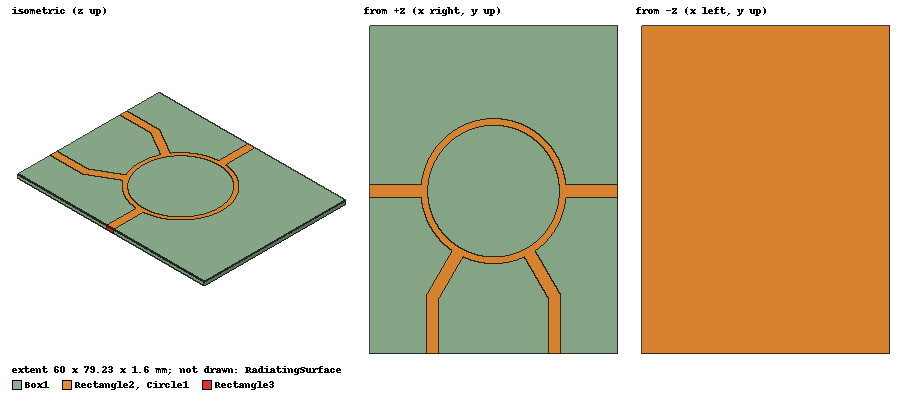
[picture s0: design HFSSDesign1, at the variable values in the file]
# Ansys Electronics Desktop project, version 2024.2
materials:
  vacuum: permittivity=1
  FR4_epoxy: permittivity=4.4 dielectric_loss_tangent=0.02
  air: permittivity=1.0006 permeability=1.0000004

design HFSSDesign1 (HFSS, HFSS Terminal Network, model units mm)
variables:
  r1 = 17.52mm
  r2 = 15.9mm
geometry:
  Circle1 = circle(normal=Z, centre=(0mm, 0mm, 0mm), radius=17.52mm)
  Circle2 = circle(normal=Z, centre=(0mm, 0mm, 0mm), radius=15.9mm)
  Circle1.subtract(Circle2)
  Rectangle1 = rectangle(corner=(-1.5mm, -30mm, 0mm), x_size=3mm, y_size=14mm)
  Rectangle1_1 = Rectangle1.duplicate_around_axis(axis=Z, angle=90deg, total=2)
  Rectangle1_2 = Rectangle1.duplicate_around_axis(axis=Z, angle=-90deg, total=2)
  Rectangle1_3 = Rectangle1.duplicate_around_axis(axis=Z, angle=-30deg, total=2)
  Rectangle1_4 = Rectangle1.duplicate_around_axis(axis=Z, angle=30deg, total=2)
  Rectangle1_5 = Rectangle1.duplicate_along_line(step=(-14.799038mm, -9.2307621mm, 0mm), total=2)
  Rectangle1_6 = Rectangle1.duplicate_along_line(step=(14.799038mm, -9.2307621mm, 0mm), total=2)
  Rectangle1.delete()
  Circle1.unite(Rectangle1_1..Rectangle1_6)
  Rectangle2 = rectangle(corner=(-30mm, -39.230762mm, 0mm), x_size=60mm, y_size=79.230762mm)
  Rectangle2.move(0mm, 0mm, -1.6mm)
  Box1 [FR4_epoxy] = box(corner=(-30mm, 40mm, -1.6mm), size=(60mm, -79.230762mm, 1.6mm))
  Rectangle3 = rectangle(corner=(30mm, -1.5mm, 0mm), y_size=3mm, z_size=-1.6mm)
  Rectangle4 = rectangle(corner=(-30mm, 1.5mm, 0mm), y_size=-3mm, z_size=-1.6mm)
  Rectangle5 = rectangle(corner=(-16.299038mm, -39.230762mm, 0mm), z_size=-1.6mm, x_size=3mm)
  Rectangle6 = rectangle(corner=(13.299038mm, -39.230762mm, 0mm), z_size=-1.6mm, x_size=3mm)
  RadiatingSurface [vacuum] = region(absolute_offset=41.666667mm on all sides)
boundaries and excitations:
  PerfE1: Perfect E Objects=Rectangle2
  PerfE2: Perfect E Objects=Circle1
  Open1: Radiation Objects=RadiatingSurface
  Rad1: Radiation Objects=RadiatingSurface
  P1: Lumped Port Objects=Rectangle5 LumpedPortType=Modal Modes{Mode1{IntLine{(-14.799038, -39.230762, -1.6) -> (-14.799038, -39.230762, 0)} CharImp=Zpi}} Impedance=50ohm
  P2: Lumped Port Objects=Rectangle4 LumpedPortType=Modal Modes{Mode1{IntLine{(-30, 0, -1.6) -> (-30, 0, 0)} CharImp=Zpi}} Impedance=50ohm
  P3: Lumped Port Objects=Rectangle6 LumpedPortType=Modal Modes{Mode1{IntLine{(14.799038, -39.230762, -1.6) -> (14.799038, -39.230762, 0)} CharImp=Zpi}} Impedance=50ohm
  P4: Lumped Port Objects=Rectangle3 LumpedPortType=Modal Modes{Mode1{IntLine{(30, 0.2, -1.6) -> (30, 0.2, 0)} CharImp=Zpi}} Impedance=50ohm
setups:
  Setup1: HfssDriven Frequency=4GHz MaxDeltaS=0.02 MaximumPasses=6 MinimumPasses=1 MinimumConvergedPasses=1 PercentRefinement=30 BasisOrder=1 PortAccuracy=2 DrivenSolverType="Direct Solver"
    sweep Sweep: 1GHz to 5GHz step 0.1GHz; Type=Interpolating InterpTolerance=0.5 InterpMaxSolns=250 PassivityErrorTolerance=0.0001
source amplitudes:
  P1:1: 1V 0deg
  P2:1, P3:1, P4:1: 0V 0deg
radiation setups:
  3D: Infinite Sphere Theta=0deg..180deg step 2deg Phi=-180deg..180deg step 2deg
  Elevation: Infinite Sphere Theta=-180deg..180deg step 1deg Phi=0deg..90deg step 90deg
  Azimuth: Infinite Sphere Theta=90deg..90deg step 0deg Phi=-180deg..180deg step 1deg
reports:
  Terminal S Parameter Plot 1: dB(St(P1,P1)), dB(St(P2,P1)), dB(St(P1,P2)), dB(St(P2,P2)) vs Freq on Setup1 : Sweep
